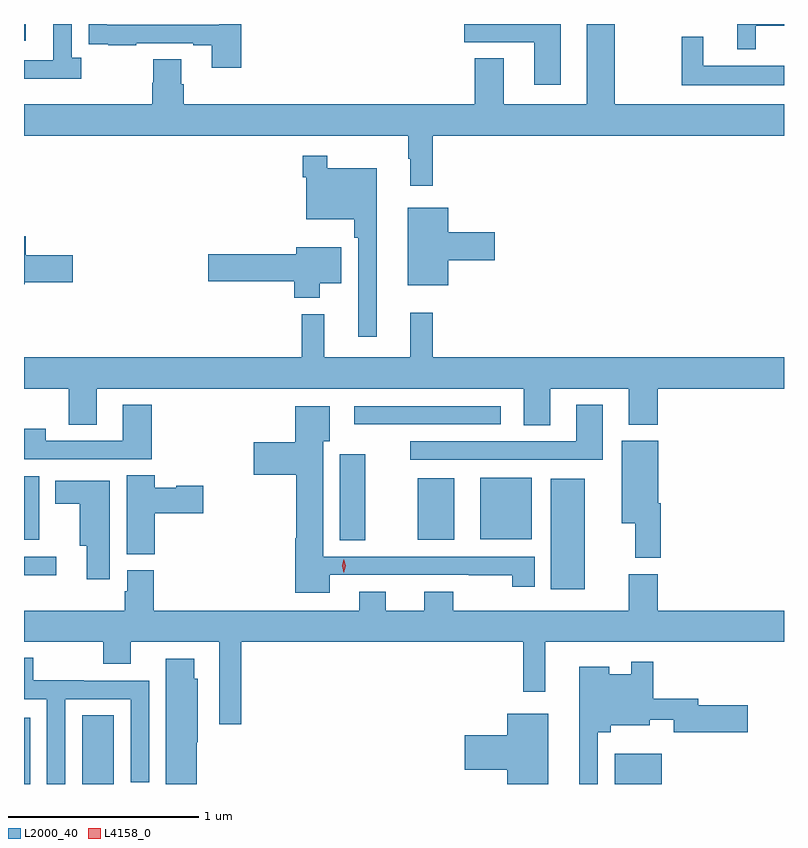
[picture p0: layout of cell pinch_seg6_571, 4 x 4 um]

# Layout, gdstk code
import gdstk
lib = gdstk.Library(unit=1e-6, precision=1e-09)
def R(c, l, rs):  # rectangles x0, y0, x1, y1
    for r in rs: c.add(gdstk.rectangle(r[:2], r[2:], *l))
def P(c, l, *ps):  # polygons
    for p in ps: c.add(gdstk.Polygon(p, *l))
L2000_40 = (2000, 40)
L4158_0 = (4158, 0)

pinch_seg6_571 = lib.new_cell('pinch_seg6_571')
R(pinch_seg6_571, L2000_40, [(627.902,969.231,627.934,969.58), (628.208,969.231,628.375,969.593), (631.01,969.231,631.259,969.391), (630.674,970.256,630.853,970.837), (627.902,970.331,628.072,970.428), (629.564,970.513,629.698,970.966), (627.902,970.517,627.982,970.852), (629.975,970.517,630.166,970.84), (630.302,970.52,630.574,970.843), (629.64,971.124,630.412,971.22), (627.902,973.143,627.91,973.231)])
P(pinch_seg6_571, L2000_40, [(629.045,973.231),(628.929,973.231),(628.929,973.227),(628.338,973.227),(628.338,973.231),(628.243,973.231),(628.243,973.125),(628.345,973.125),(628.345,973.119),(628.493,973.119),(628.493,973.131),(628.793,973.131),(628.793,973.119),(628.889,973.119),(628.889,973.002),(629.045,973.002)],
  [(630.053,972.644),(631.902,972.644),(631.902,972.808),(631.011,972.808),(631.011,973.231),(630.863,973.231),(630.863,972.808),(630.427,972.808),(630.427,973.051),(630.275,973.051),(630.275,972.808),(628.742,972.808),(628.742,972.914),(628.729,972.914),(628.729,973.046),(628.582,973.046),(628.582,972.921),(628.577,972.921),(628.577,972.808),(627.902,972.808),(627.902,972.644),(629.925,972.644),(629.925,972.521),(629.936,972.521),(629.936,972.381),(630.053,972.381)],
  [(630.727,973.231),(630.218,973.231),(630.218,973.136),(630.587,973.136),(630.587,972.912),(630.727,972.912)],
  [(631.753,973.221),(631.902,973.221),(631.902,973.231),(631.655,973.231),(631.655,973.097),(631.753,973.097)],
  [(628.204,973.054),(628.152,973.054),(628.152,973.231),(628.055,973.231),(628.055,973.041),(627.902,973.041),(627.902,972.944),(628.204,972.944)],
  [(631.902,973.012),(631.477,973.012),(631.477,973.165),(631.363,973.165),(631.363,972.908),(631.902,972.908)],
  [(629.758,972.472),(629.497,972.472),(629.497,972.538),(629.368,972.538),(629.368,972.425),(629.388,972.425),(629.388,972.203),(629.641,972.203),(629.641,972.107),(629.661,972.107),(629.661,971.586),(629.758,971.586)],
  [(630.136,971.987),(630.379,971.987),(630.379,972.134),(630.136,972.134),(630.136,972.265),(629.921,972.265),(629.921,971.855),(630.136,971.855)],
  [(627.906,971.872),(628.159,971.872),(628.159,972.014),(627.91,972.014),(627.91,972.115),(627.902,972.115),(627.902,971.861),(627.906,971.861)],
  [(629.458,971.867),(629.572,971.867),(629.572,972.055),(629.336,972.055),(629.336,972.02),(628.872,972.02),(628.872,971.878),(629.324,971.878),(629.324,971.789),(629.458,971.789)],
  [(630.673,971.312),(631.085,971.312),(631.085,971.123),(631.238,971.123),(631.238,971.312),(631.902,971.312),(631.902,971.476),(630.053,971.476),(630.053,971.71),(629.936,971.71),(629.936,971.476),(629.483,971.476),(629.483,971.704),(629.365,971.704),(629.365,971.476),(627.902,971.476),(627.902,971.312),(628.138,971.312),(628.138,971.122),(628.285,971.122),(628.285,971.312),(630.533,971.312),(630.533,971.119),(630.673,971.119)],
  [(628.574,971.227),(628.421,971.227),(628.421,971.037),(628.017,971.037),(628.017,971.101),(627.902,971.101),(627.902,970.941),(628.574,970.941)],
  [(630.949,971.227),(630.809,971.227),(630.809,971.034),(629.934,971.034),(629.934,970.938),(630.949,970.938)],
  [(629.512,970.332),(630.244,970.332),(630.244,970.331),(630.472,970.331),(630.472,970.269),(630.589,970.269),(630.589,970.428),(629.476,970.428),(629.476,971.036),(629.512,971.036),(629.512,971.218),(629.33,971.218),(629.33,971.029),(629.112,971.029),(629.112,970.859),(629.335,970.859),(629.335,970.525),(629.33,970.525),(629.33,970.238),(629.512,970.238)],
  [(631.253,970.708),(631.24,970.708),(631.24,971.038),(631.049,971.038),(631.049,970.604),(631.118,970.604),(631.118,970.421),(631.253,970.421)],
  [(628.589,970.655),(628.846,970.655),(628.846,970.802),(628.703,970.802),(628.703,970.789),(628.589,970.789),(628.589,970.856),(628.442,970.856),(628.442,970.441),(628.589,970.441)],
  [(628.354,970.828),(628.067,970.828),(628.067,970.706),(628.196,970.706),(628.196,970.484),(628.232,970.484),(628.232,970.308),(628.354,970.308)],
  [(628.465,969.98),(628.929,969.98),(628.929,969.546),(629.045,969.546),(629.045,969.98),(630.529,969.98),(630.529,969.717),(630.646,969.717),(630.646,969.98),(631.902,969.98),(631.902,970.144),(631.238,970.144),(631.238,970.336),(631.085,970.336),(631.085,970.144),(630.161,970.144),(630.161,970.243),(630.008,970.243),(630.008,970.144),(629.806,970.144),(629.806,970.243),(629.666,970.243),(629.666,970.144),(628.586,970.144),(628.586,970.356),(628.445,970.356),(628.445,970.245),(628.433,970.245),(628.433,970.144),(627.902,970.144),(627.902,969.98),(628.318,969.98),(628.318,969.863),(628.465,969.863)],
  [(628.119,969.678),(628.464,969.678),(628.464,969.24),(628.56,969.24),(628.56,969.774),(628.216,969.774),(628.216,969.776),(627.951,969.776),(627.951,969.895),(627.902,969.895),(627.902,969.678),(628.023,969.678),(628.023,969.231),(628.119,969.231)],
  [(628.811,969.45),(628.816,969.45),(628.816,969.786),(628.798,969.786),(628.798,969.889),(628.649,969.889),(628.649,969.231),(628.811,969.231)],
  [(630.921,969.503),(630.99,969.503),(630.99,969.539),(631.195,969.539),(631.195,969.569),(631.322,969.569),(631.322,969.503),(631.711,969.503),(631.711,969.645),(631.45,969.645),(631.45,969.679),(631.214,969.679),(631.214,969.874),(631.098,969.874),(631.098,969.808),(630.982,969.808),(630.982,969.847),(630.824,969.847),(630.824,969.231),(630.921,969.231)],
  [(630.661,969.601),(630.446,969.601),(630.446,969.488),(630.222,969.488),(630.222,969.305),(630.446,969.305),(630.446,969.231),(630.661,969.231)])
P(pinch_seg6_571, L4158_0, [(629.586,970.343),(629.586,970.343),(629.576,970.379),(629.586,970.415),(629.586,970.415),(629.586,970.415),(629.596,970.379),(629.586,970.343)])

lib.write_gds('pinch_seg6_571.gds')
